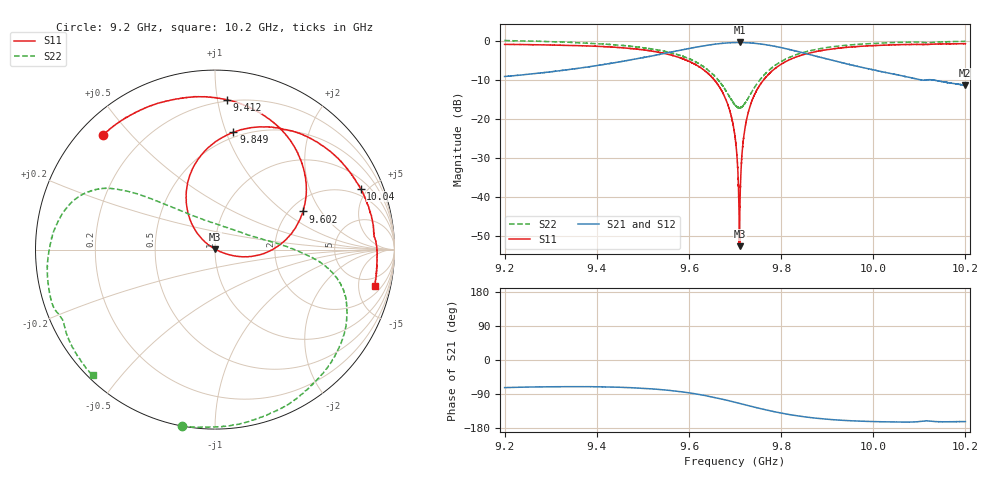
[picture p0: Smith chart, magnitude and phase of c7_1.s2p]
!Agilent Technologies,N5242A,MY51221714,A.09.90.19
!Agilent N5242A: A.09.90.19
!Date: Tuesday, March 26, 2024 15:58:17
!Correction: S11(Full 2 Port(1,2))
!S21(Full 2 Port(1,2))
!S12(Full 2 Port(1,2))
!S22(Full 2 Port(1,2))
!S2P File: Measurements: S11, S21, S12, S22:
# Hz S  dB  R 50
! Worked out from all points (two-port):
!   16001 points, 9.2 GHz to 10.2 GHz, reference 50 ohm
!   highest |S21| = -0.50 dB at 9.711 GHz (marker M1); lowest = -11.5 dB at 10.2 GHz (marker M2)
!   |S21| within 3 dB of the highest: 9.538241 GHz to 9.538255 GHz (14.22 kHz wide, 0.000149 % of centre); 9.539 GHz to 9.859 GHz (320.4 MHz wide, 3.3 % of centre)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
!   lowest |S11| = -52.6 dB at 9.71 GHz (marker M3), VSWR 1.00, Z = 50 + j0.233 ohm
!   |S11| at or under -10 dB: 9.655 GHz to 9.763 GHz (108.1 MHz wide, 1.11 % of centre); 9.762634 GHz to 9.762765 GHz (131.2 kHz wide, 0.00134 % of centre)
!   |S22| runs from -17.3 to 0.0 dB; largest |S21 - S12| = 0.012
!   S11 on the Smith chart (normalised r, x): 9.2 GHz: 0.07, +0.42; 9.412 GHz: 0.19, +1.06; 9.602 GHz: 2.34, +1.39; 9.849 GHz: 0.46, +1.06; 10.04 GHz: 1.50, +4.50; 10.2 GHz: 3.19, -7.66
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9.2e9  -0.98 134.4  -9.21 -72.9  -9.19 -73.6  0.00 -100.6
9.366688e9  -1.33 96.9  -7.00 -70.4  -6.99 -71.0  -0.62 -56.1
9.411625e9  -1.54 85.5  -6.19 -70.9  -6.19 -71.5  -0.89 -44.7
9.533375e9  -3.00 49.5  -3.62 -77.5  -3.61 -78.0  -2.41 -18.0
9.602375e9  -5.46 23.5  -2.01 -87.1  -1.99 -87.6  -4.77 -6.2
9.66875e9  -12.38 -7.4  -0.76 -102.4  -0.76 -102.9  -10.88 10.6
9.68825e9  -17.85 -17.0  -0.58 -107.9  -0.57 -108.5  -14.43 27.4
9.7e9  -24.57 -21.6  -0.52 -111.6  -0.51 -112.1  -16.45 47.9
9.706438e9  -34.19 -16.7  -0.52 -113.5  -0.50 -114.0  -17.15 63.2
9.709875e9  -52.65 91.8  -0.52 -114.5  -0.50 -115.1  -17.25 72.1
9.710688e9  -42.66 128.0  -0.50 -114.8  -0.51 -115.4  -17.24 74.3
9.717438e9  -26.26 143.6  -0.52 -116.8  -0.51 -117.4  -16.68 91.4
9.722438e9  -21.97 141.6  -0.54 -118.4  -0.53 -119.0  -15.92 102.0
9.743625e9  -13.54 130.3  -0.72 -124.9  -0.72 -125.4  -11.78 128.1
9.785688e9  -7.27 109.1  -1.46 -136.6  -1.46 -137.1  -6.46 142.3
9.848938e9  -3.59 81.1  -3.19 -149.7  -3.19 -150.1  -3.03 151.2
9.866688e9  -3.06 74.3  -3.72 -152.3  -3.73 -152.8  -2.50 153.6
9.934375e9  -1.84 51.4  -5.73 -159.3  -5.74 -159.8  -1.29 164.8
1.003338e10  -1.15 24.4  -8.34 -163.2  -8.34 -163.8  -0.57 -174.8
1.004025e10  -1.11 22.7  -8.49 -163.3  -8.50 -163.9  -0.53 -173.3
1.019975e10  -0.80 -12.6  -11.46 -162.4  -11.45 -162.9  -0.21 -134.2
1.02e10  -0.80 -12.7  -11.45 -162.5  -11.46 -163.0  -0.20 -134.2
